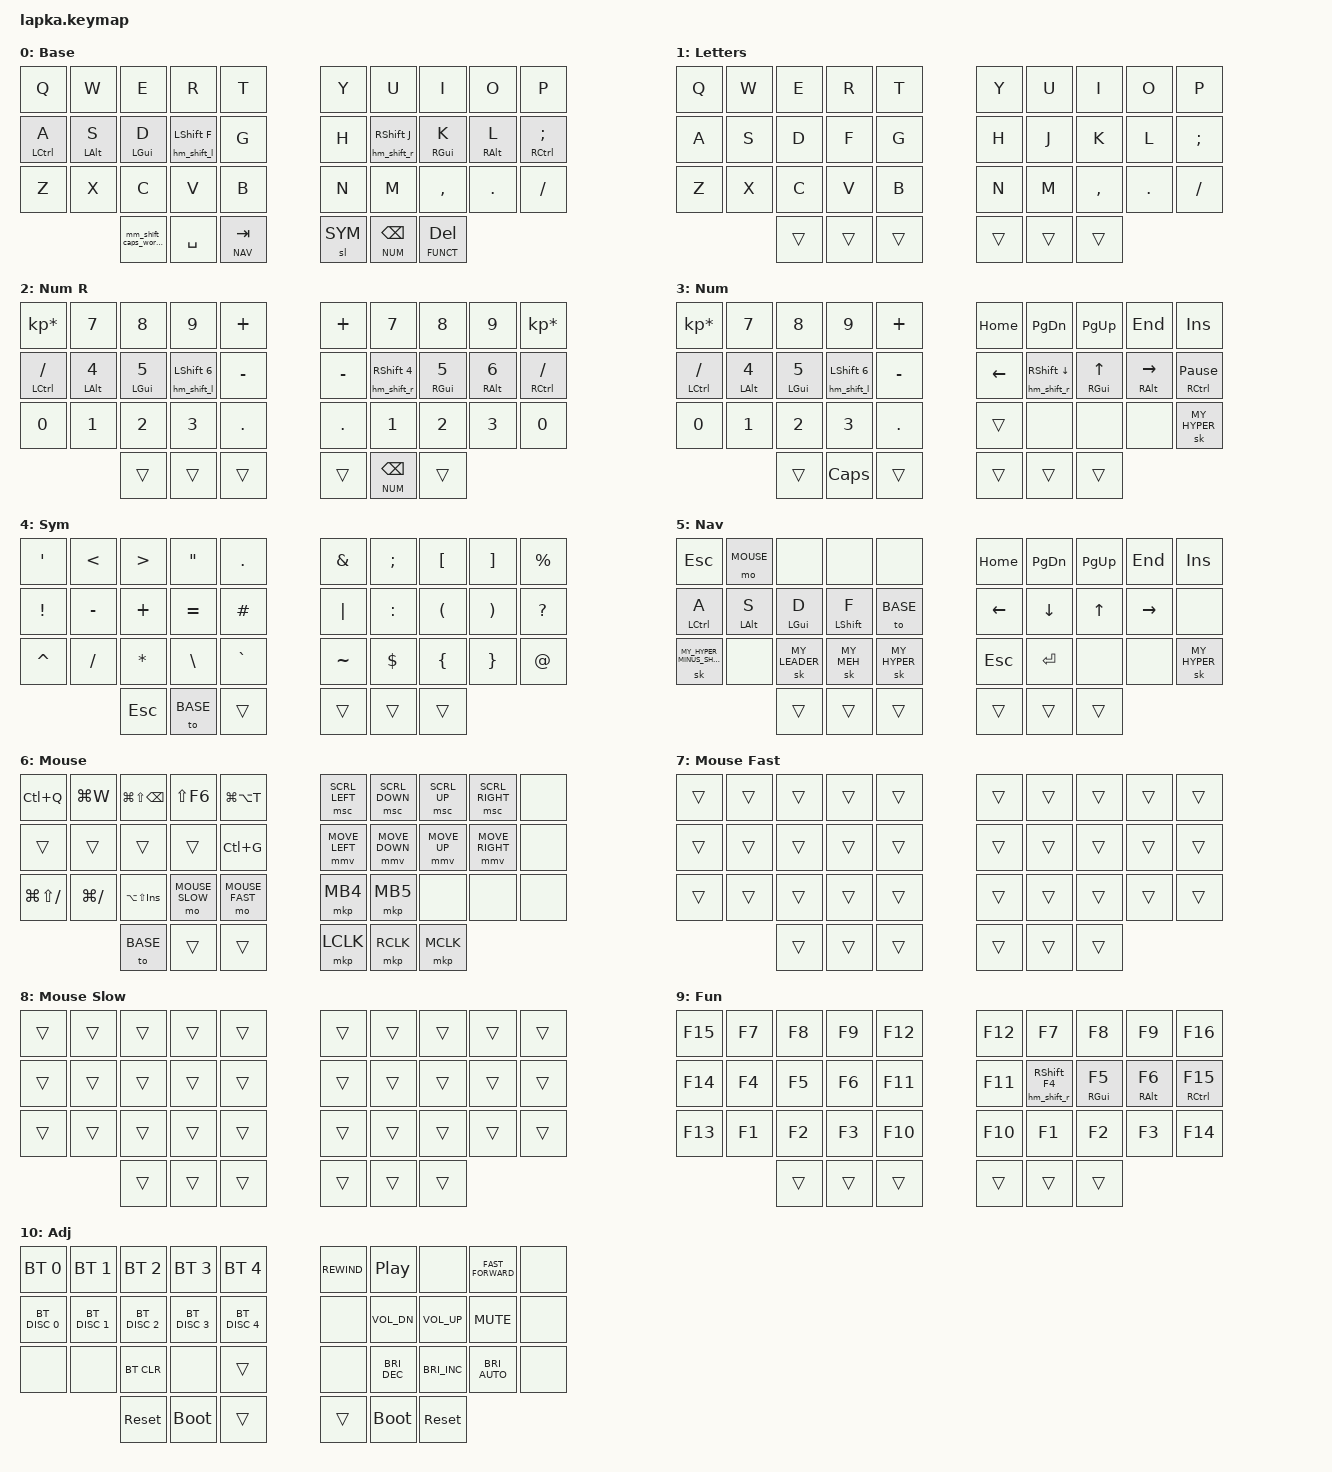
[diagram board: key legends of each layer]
#include <behaviors.dtsi>
#include <dt-bindings/zmk/ext_power.h>
#include <dt-bindings/zmk/outputs.h>
#include <dt-bindings/zmk/keys.h>
#include <dt-bindings/zmk/bt.h>

/* 36 KEY MATRIX / LAYOUT MAPPING

╭──────────────────────┬────────────────────────────╮
│  0   1   2   3   4   │      5   6   7   8   9     │
│ 10  11  12  13  14   │     15  16  17  18  19     │
│ 20  21  22  23  24   │     25  26  27  28  29     │
╰───────╮ 30  31  32   │     33  34  35     ╭───────╯
        ╰──────────────┴────────────────────╯

╭─────────────────────────┬─────────────────────╮
│ LT4 LT3 LT2 LT1 LT0     │ RT0 RT1 RT2 RT3 RT4 │
│ LM4 LM3 LM2 LM1 LM0     │ RM0 RM1 RM2 RM3 RM4 │
│ LB4 LB3 LB2 LB1 LB0     │ RB0 RB1 RB2 RB3 RB4 │
╰───────╮ LH2 LH1 LH0     │ RH0 RH1 RH2     ╭───╯
        ╰─────────────────┴─────────────────╯
*/

#define LT0  4  // left-top row
#define LT1  3
#define LT2  2
#define LT3  1
#define LT4  0

#define RT0  5 // right-top row
#define RT1  6
#define RT2  7
#define RT3  8
#define RT4  9

#define LM0 14  // left-middle row
#define LM1 13
#define LM2 12
#define LM3 11
#define LM4 10

#define RM0 15  // right-middle row
#define RM1 16
#define RM2 17
#define RM3 18
#define RM4 19

#define LB0 24  // left-bottom row
#define LB1 23
#define LB2 22
#define LB3 21
#define LB4 20

#define RB0 25  // right-bottom row
#define RB1 26
#define RB2 27
#define RB3 28
#define RB4 29

#define LH0 32  // left thumb keys
#define LH1 31
#define LH2 30

#define RH0 33  // right thumb keys
#define RH1 34
#define RH2 35

#define KEYS_L LT4 LT3 LT2 LT1 LT0 LM4 LM3 LM2 LM1 LM0 LB4 LB3 LB2 LB1 LB0
#define KEYS_R RT0 RT1 RT2 RT3 RT4 RM0 RM1 RM2 RM3 RM4 RB0 RB1 RB2 RB3 RB4
#define KEYS_T LH2 LH1 LH0 RH0 RH1 RH2

#define HAS_UROB
#define HAS_TRI_STATE

#include "includes/layers_definitions.dtsi"
#include <input/processors.dtsi>

#define ZMK_POINTING_DEFAULT_MOVE_VAL 1200 // default: 600
#define ZMK_POINTING_DEFAULT_SCRL_VAL 20   // default: 10

#include <dt-bindings/zmk/pointing.h>
#include "zmk-helpers/helper.h"
#include "zmk-helpers/unicode-chars/currency.dtsi"

// Personal includes
#include "includes/custom_keycodes.dtsi"
#include "includes/settings.dtsi"
#include "includes/conditional_layers.dtsi"
#include "includes/macros.dtsi"
#include "includes/combos.dtsi"
#include "includes/behaviours_homerow_mods.dtsi"
#include "includes/behaviours_mod_morph.dtsi"
#include "includes/layers_callbacks.dtsi"
#include "includes/behaviours_other.dtsi"


/ {
	keymap {
		compatible = "zmk,keymap";

		base_layer {
			display-name = "Base";
			bindings = <
			&kp Q                    &kp W            &kp E            &kp R                     &kp T                            &kp Y           &kp U                 &kp I          &kp O          &kp P
			&hm_l LCTRL A            &hm_l LALT S     &hm_l LGUI D     &hm_shift_l LSHFT F       &kp G                            &kp H           &hm_shift_r RSHFT J   &hm_r RGUI K   &hm_r RALT  L  &hm_r RCTRL SEMI 
			&kp Z                    &kp X            &kp C            &kp V                     &kp B                            &kp N           &kp M                 &kp COMMA      &kp DOT        &kp FSLH
      &mm_shift_caps_word_l  &kp SPACE   &lt NAV TAB                                                                        &sl SYM  &lt NUM BSPC  &lt FUNCT DEL
			>;
		};

    letters_layer {
			display-name = "Letters";
			bindings = <
			&kp Q            &kp W            &kp E            &kp R           &kp T                      &kp Y           &kp U         &kp I          &kp O          &kp P
			&kp A            &kp S            &kp D            &kp F           &kp G                      &kp H           &kp J         &kp K          &kp L          &kp SEMI 
			&kp Z            &kp X            &kp C            &kp V           &kp B                      &kp N           &kp M         &kp COMMA      &kp DOT        &kp FSLH
      &trans  &trans  &trans                                                                        &trans  &trans  &trans
			>;
		};
		
		num_layer_right {
			display-name = "Num R";
			bindings = <
			&kp KP_ASTERISK     &kp N7         &kp N8                &kp N9                &kp PLUS                               &kp PLUS      &kp N7                   &kp N8               &kp N9             &kp KP_ASTERISK
			&hm_l LCTRL SLASH   &hm_l LALT N4  &hm_l LGUI N5         &hm_shift_l LSHFT N6  &kp MINUS                              &kp MINUS     &hm_shift_r RSHFT N4     &hm_r RGUI N5        &hm_r RALT N6      &hm_r RCTRL SLASH
			&kp N0              &kp N1         &kp N2                &kp NUMBER_3          &kp DOT                                &kp DOT       &kp N1                   &kp N2               &kp N3             &kp N0
			&trans  &trans  &trans                                                                                                &trans  &lt NUM BSPC  &trans
			>;
		};

		num_layer {
			display-name = "Num";
			bindings = <
			&kp KP_ASTERISK     &kp N7         &kp N8                &kp N9                &kp PLUS                               &kp HOME        &kp PG_DN                &kp PG_UP            &kp END            &kp INSERT
			&hm_l LCTRL SLASH   &hm_l LALT N4  &hm_l LGUI N5         &hm_shift_l LSHFT N6  &kp MINUS                              &kp LEFT        &hm_shift_r RSHFT DOWN   &hm_r RGUI UP        &hm_r RALT RIGHT   &hm_r RCTRL PAUSE_BREAK
			&kp N0              &kp N1         &kp N2                &kp NUMBER_3          &kp DOT                                &trans          &none                    &none                &none              &sk MY_HYPER
			&trans  &kp CAPS  &trans                                                                                              &trans  &trans  &trans
			>;
		};
		
		sym_layer {
			display-name = "Sym";
			bindings = <
			&kp SQT                  &kp LESS_THAN         &kp GREATER_THAN        &kp DOUBLE_QUOTES       &kp DOT                &kp AMPS   &kp SEMICOLON            &kp LEFT_BRACKET             &kp RIGHT_BRACKET             &kp PERCENT
			&kp EXCLAMATION          &kp MINUS             &kp PLUS                &kp EQUAL               &kp HASH               &kp PIPE   &kp COLON                &kp LEFT_PARENTHESIS         &kp RIGHT_PARENTHESIS         &kp QUESTION
			&kp CARET                &kp SLASH             &kp ASTERISK            &kp BACKSLASH           &kp GRAVE              &kp TILDE  &kp DOLLAR               &kp LEFT_BRACE               &kp RIGHT_BRACE               &kp AT_SIGN
      &kp ESC  &to BASE  &trans                                                                                             &trans  &trans  &trans
			>;
		};
		
		nav {
			display-name = "Nav";
			bindings = <
			&kp ESC                    &mo MOUSE         &none                 &none                 &none                        &kp HOME         &kp PG_DN         &kp PG_UP            &kp END            &kp INSERT
			&hm_l LCTRL A              &hm_l LALT S      &hm_l LGUI D          &hm_l LSHFT F         &to BASE                     &kp LEFT         &kp DOWN          &kp UP               &kp RIGHT          &none
			&sk MY_HYPER_MINUS_SHIFT   &none             &sk MY_LEADER         &sk MY_MEH            &sk MY_HYPER                 &kp ESC          &kp ENTER         &none                &none              &sk MY_HYPER
      &trans  &trans  &trans                                                                                                &trans  &trans  &trans
			>;
		};

		mouse {
			display-name = "Mouse";
			bindings = <
			&kp LC(Q)               &kp LG(W)              &kp LG(LS(BACKSPACE))  &kp LS(F6)            &kp LG(LA(T))             &msc SCRL_LEFT   &msc SCRL_DOWN           &msc SCRL_UP         &msc SCRL_RIGHT    &none
			&trans                  &trans                 &trans                 &trans                &kp LC(G)                 &mmv MOVE_LEFT   &mmv MOVE_DOWN           &mmv MOVE_UP         &mmv MOVE_RIGHT    &none
			&kp LG(LS(SLASH))       &kp LG(SLASH)          &kp LA(LS(INSERT))     &mo MOUSE_SLOW        &mo MOUSE_FAST            &mkp MB4         &mkp MB5                 &none                &none              &none
			&to BASE &trans  &trans                                                                                               &mkp LCLK   &mkp RCLK   &mkp MCLK
			>;
		};
		
		mouse_fast {
			display-name = "Mouse Fast";
			bindings = <
			&trans                  &trans            &trans          &trans                &trans                                &trans          &trans      &trans       &trans       &trans
			&trans                  &trans            &trans          &trans                &trans                                &trans          &trans      &trans       &trans       &trans
			&trans                  &trans            &trans          &trans                &trans                                &trans          &trans      &trans       &trans       &trans
			&trans  &trans  &trans                                                                                                &trans  &trans  &trans
			>;
		};

		mouse_slow {
			display-name = "Mouse Slow";
			bindings = <
			&trans                  &trans            &trans          &trans         &trans                                       &trans          &trans      &trans      &trans       &trans
			&trans                  &trans            &trans          &trans         &trans                                       &trans          &trans      &trans      &trans       &trans
			&trans                  &trans            &trans          &trans         &trans                                       &trans          &trans      &trans      &trans       &trans
			&trans  &trans  &trans                                                                                                &trans  &trans  &trans
			>;
		};
		
		funct_layer {
			display-name = "Fun";
			bindings = <
			&kp F15           &kp F7        &kp F8       &kp F9        &kp F12                                                    &kp F12           &kp F7                  &kp F8              &kp F9              &kp F16
			&kp F14           &kp F4        &kp F5       &kp F6        &kp F11                                                    &kp F11           &hm_shift_r RSHFT F4    &hm_r RGUI F5       &hm_r RALT F6       &hm_r RCTRL F15
			&kp F13           &kp F1        &kp F2       &kp F3        &kp F10                                                    &kp F10           &kp F1                  &kp F2              &kp F3              &kp F14
			&trans  &trans  &trans                                                                                                &trans  &trans  &trans
			>;
		};
		
		adjust_layer {
			display-name = "Adj";
			bindings = <
			&bt BT_SEL 0         &bt BT_SEL 1       &bt BT_SEL 2       &bt BT_SEL 3        &bt BT_SEL 4                           &kp C_REWIND      &kp C_PLAY_PAUSE         &none                    &kp C_FAST_FORWARD        &none
			&bt BT_DISC 0        &bt BT_DISC 1      &bt BT_DISC 2      &bt BT_DISC 3       &bt BT_DISC 4                          &none             &kp C_VOL_DN             &kp C_VOL_UP             &kp C_MUTE                &none
			&none                &none              &bt BT_CLR         &none               &trans                                 &none             &kp C_BRIGHTNESS_DEC     &kp C_BRIGHTNESS_INC     &kp C_BRIGHTNESS_AUTO     &none
			&sys_reset  &bootloader  &trans                                                                                       &trans  &bootloader  &sys_reset
			>;
		};
		
	};
};

&mmv_input_listener {
	fast {
		layers = <MOUSE_FAST>;
		input-processors = <&zip_xy_scaler 3 1>;
	};
	slow {
		layers = <MOUSE_SLOW>;
		input-processors = <&zip_xy_scaler 1 2>;
	};
};

